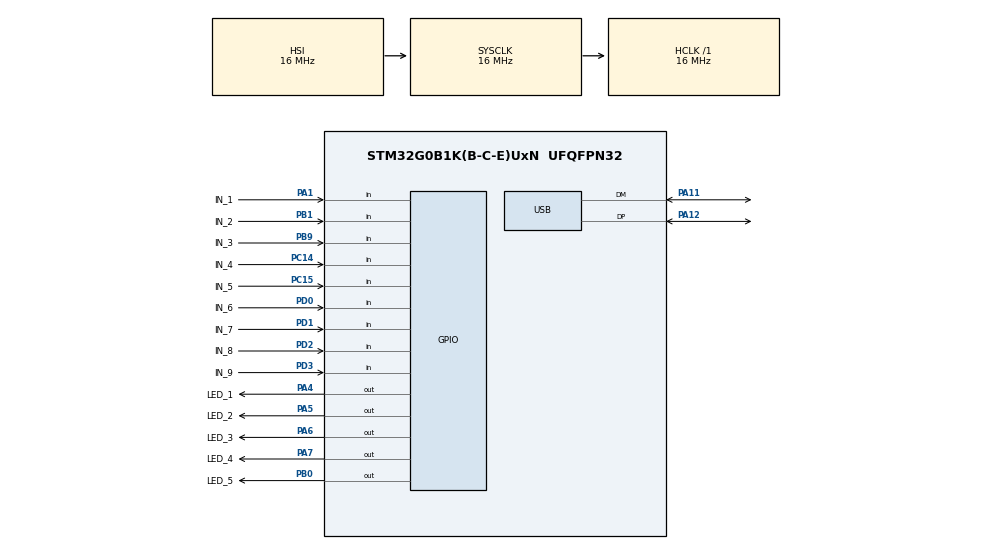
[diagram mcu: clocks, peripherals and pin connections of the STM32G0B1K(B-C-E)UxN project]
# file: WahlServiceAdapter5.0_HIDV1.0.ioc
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Mcu.Family=STM32G0
Mcu.Name=STM32G0B1K(B-C-E)UxN
Mcu.Package=UFQFPN32
NVIC.USB_UCPD1_2_IRQn=true\:0\:0\:false\:false\:true\:true\:true\:true
PA1.GPIO_Label=IN_1
PA1.GPIO_PuPd=GPIO_PULLUP
PA1.Signal=GPIO_Input
PA11\ [PA9].Mode=Device
PA11\ [PA9].Signal=USB_DM
PA12\ [PA10].Mode=Device
PA12\ [PA10].Signal=USB_DP
PA4.GPIO_Label=LED_1
PA4.Signal=GPIO_Output
PA5.GPIO_Label=LED_2
PA5.Signal=GPIO_Output
PA6.GPIO_Label=LED_3
PA6.Signal=GPIO_Output
PA7.GPIO_Label=LED_4
PA7.Signal=GPIO_Output
PB0.GPIO_Label=LED_5
PB0.Signal=GPIO_Output
PB1.GPIO_Label=IN_2
PB1.GPIO_PuPd=GPIO_PULLUP
PB1.Signal=GPIO_Input
PB9.GPIO_Label=IN_3
PB9.GPIO_PuPd=GPIO_PULLUP
PB9.Signal=GPIO_Input
PC14-OSC32_IN\ (PC14).GPIO_Label=IN_4
PC14-OSC32_IN\ (PC14).GPIO_PuPd=GPIO_PULLUP
PC14-OSC32_IN\ (PC14).Signal=GPIO_Input
PC15-OSC32_OUT\ (PC15).GPIO_Label=IN_5
PC15-OSC32_OUT\ (PC15).GPIO_PuPd=GPIO_PULLUP
PC15-OSC32_OUT\ (PC15).Signal=GPIO_Input
PD0.GPIO_Label=IN_6
PD0.GPIO_PuPd=GPIO_PULLUP
PD0.Signal=GPIO_Input
PD1.GPIO_Label=IN_7
PD1.GPIO_PuPd=GPIO_PULLUP
PD1.Signal=GPIO_Input
PD2.GPIO_Label=IN_8
PD2.GPIO_PuPd=GPIO_PULLUP
PD2.Signal=GPIO_Input
PD3.GPIO_Label=IN_9
PD3.GPIO_PuPd=GPIO_PULLUP
PD3.Signal=GPIO_Input
ProjectManager.HeapSize=0x200
ProjectManager.StackSize=0x400
ProjectManager.TargetToolchain=STM32CubeIDE
RCC.AHBFreq_Value=16000000
RCC.CortexFreq_Value=16000000
RCC.EXTERNAL_CLOCK_VALUE=48000
RCC.HCLKFreq_Value=16000000
RCC.HSE_VALUE=8000000
RCC.HSI48_VALUE=48000000
RCC.HSI_VALUE=16000000
RCC.LSE_VALUE=32768
RCC.SYSCLKFreq_VALUE=16000000
RCC.USBFreq_Value=48000000
RCC.VCOOutputFreq_Value=128000000
USB_DEVICE.CLASS_NAME_FS=HID
USB_DEVICE.LANGID_STRING=1031
USB_DEVICE.MANUFACTURER_STRING=StephanBeha
USB_DEVICE.PRODUCT_STRING_HID_FS=Martendo-AmigaJoystickInterface
USB_DEVICE.VirtualMode=Hid
USB_DEVICE.VirtualModeFS=Hid_FS
VP_SYS_VS_DBSignals.Mode=DisableDeadBatterySignals
VP_USB_DEVICE_VS_USB_DEVICE_HID_FS.Mode=HID_FS
board=custom

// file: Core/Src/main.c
/* USER CODE BEGIN Header */
/**
  ******************************************************************************
  * @file           : main.c
  * @brief          : Main program body
  ******************************************************************************
  * @attention
  *
  * Copyright (c) 2026 STMicroelectronics.
  * All rights reserved.
  *
  * This software is licensed under terms that can be found in the LICENSE file
  * in the root directory of this software component.
  * If no LICENSE file comes with this software, it is provided AS-IS.
  *
  ******************************************************************************
  */
/* USER CODE END Header */
#include <usbd_hid_joystick.h>
#include "main.h"
#include "usb_device.h"
#include "gpio.h"

/* USER CODE BEGIN PV */
volatile uint8_t data_ready = 0;

#if (AXIS_NUM > 0)
uint32_t filter_buf[AXIS_NUM][FILTER_WINDOW_SIZE];
#endif
uint16_t report_data[AXIS_NUM + BUTTONS_ENABLED];

uint16_t buttons_state;
uint16_t ADC_data[ADC_CHANNELS_NUM];
/* USER CODE END PV */

void SystemClock_Config(void);
/* USER CODE BEGIN PFP */
uint16_t FilterWindow (uint32_t * p_buf, uint16_t new_val);
/* USER CODE END PFP */

int main(void)
{

  /* MCU Configuration--------------------------------------------------------*/

  /* Reset of all peripherals, Initializes the Flash interface and the Systick. */
  HAL_Init();

  /* Configure the system clock */
  SystemClock_Config();

  /* Initialize all configured peripherals */
  MX_GPIO_Init();
  MX_USB_Device_Init();
  /* USER CODE BEGIN 2 */

uint32_t ledFlash=0;

  /* USER CODE END 2 */

  /* Infinite loop */
  while (1)
  {

    /* USER CODE BEGIN 3 */

	  //HAL_GPIO_WritePin(LED_3_GPIO_Port, LED_3_Pin, 1);
if (ledFlash<20000) ledFlash++;
else ledFlash=0;

if (ledFlash>18000) HAL_GPIO_WritePin(LED_1_GPIO_Port, LED_1_Pin, 1);
else HAL_GPIO_WritePin(LED_1_GPIO_Port, LED_1_Pin, 0);

HAL_GPIO_WritePin(LED_2_GPIO_Port, LED_2_Pin, 0);

	if (1)// (data_ready != 0)
		{
			GPIO_Poll(&buttons_state);
/*
#if (AXIS_NUM > 0)
				for (uint8_t i=0; i<AXIS_NUM; i++)
					report_data[i] = FilterWindow(filter_buf[i], ADC_data[i]);
#endif

*/
			report_data[0]=0;		 //x axis
			report_data[1]=0;		//y axis

//
// ----------------------------------------------------------------------------------------------
// ---- IN3=PB9=TP2=North,  IN4=PC14=TP1=South,   IN5=PC15=TP4=East,    IN6=PD0=TP7=West     ----
// ----------------------------------------------------------------------------------------------
//

			if (HAL_GPIO_ReadPin(IN_3_GPIO_Port, IN_3_Pin)==0)
					{
						report_data[0]=0;			//x Axis (North)
						report_data[1]=-32767;		//y Axis
						HAL_GPIO_WritePin(LED_2_GPIO_Port, LED_2_Pin, 1);
					}
			if (HAL_GPIO_ReadPin(IN_4_GPIO_Port, IN_4_Pin)==0)
					{
						report_data[0]=0;			//x
						report_data[1]=32767;		//y (South)
						HAL_GPIO_WritePin(LED_2_GPIO_Port, LED_2_Pin, 1);
					}
			if (HAL_GPIO_ReadPin(IN_5_GPIO_Port, IN_5_Pin)==0)
					{
						report_data[0]=-32767;	//X (east)
						report_data[1]=0;
						HAL_GPIO_WritePin(LED_2_GPIO_Port, LED_2_Pin, 1);
					}
			if (HAL_GPIO_ReadPin(IN_6_GPIO_Port, IN_6_Pin)==0)
					{
						report_data[0]=32767;		//x (west)
						report_data[1]=0;
						HAL_GPIO_WritePin(LED_2_GPIO_Port, LED_2_Pin, 1);
					}

			if ((HAL_GPIO_ReadPin(IN_3_GPIO_Port, IN_3_Pin)==0)&&(HAL_GPIO_ReadPin(IN_5_GPIO_Port, IN_5_Pin)==0))	// NorthEast
					{
						report_data[0]=32767;		// NE
						report_data[1]=-32767;
						HAL_GPIO_WritePin(LED_2_GPIO_Port, LED_2_Pin, 1);
					}
			if ((HAL_GPIO_ReadPin(IN_4_GPIO_Port, IN_4_Pin)==0)&&(HAL_GPIO_ReadPin(IN_5_GPIO_Port, IN_5_Pin)==0))	// SouthEast
					{
						report_data[0]=32767;		// SE
						report_data[1]=32767;
						HAL_GPIO_WritePin(LED_2_GPIO_Port, LED_2_Pin, 1);
					}
			if ((HAL_GPIO_ReadPin(IN_3_GPIO_Port, IN_3_Pin)==0)&&(HAL_GPIO_ReadPin(IN_6_GPIO_Port, IN_6_Pin)==0))	// SouthWest
					{
						report_data[0]=-32767;		// SW
						report_data[1]=32767;
						HAL_GPIO_WritePin(LED_2_GPIO_Port, LED_2_Pin, 1);
					}
			if ((HAL_GPIO_ReadPin(IN_3_GPIO_Port, IN_3_Pin)==0)&&(HAL_GPIO_ReadPin(IN_6_GPIO_Port, IN_6_Pin)==0))	// NorthWest
					{
						report_data[0]=-32767;		// NW
						report_data[1]=-32767;
						HAL_GPIO_WritePin(LED_2_GPIO_Port, LED_2_Pin, 1);
					}

			if (HAL_GPIO_ReadPin(IN_9_GPIO_Port, IN_9_Pin)==0) HAL_GPIO_WritePin(LED_2_GPIO_Port, LED_2_Pin, 1);
			if (HAL_GPIO_ReadPin(IN_1_GPIO_Port, IN_1_Pin)==0) HAL_GPIO_WritePin(LED_2_GPIO_Port, LED_2_Pin, 1);

#if (BUTTONS_ENABLED == 1)
			report_data[2] = buttons_state;
#endif

			USBD_HID_SendReport(&hUsbDeviceFS, (uint8_t*) &report_data, (AXIS_NUM + BUTTONS_ENABLED)*sizeof(uint16_t));
			data_ready = 0;
		}

//HAL_Delay(20);

  }
  /* USER CODE END 3 */
}

void SystemClock_Config(void)
{
  RCC_OscInitTypeDef RCC_OscInitStruct = {0};
  RCC_ClkInitTypeDef RCC_ClkInitStruct = {0};

  /** Configure the main internal regulator output voltage
  */
  HAL_PWREx_ControlVoltageScaling(PWR_REGULATOR_VOLTAGE_SCALE1);

  /** Initializes the RCC Oscillators according to the specified parameters
  * in the RCC_OscInitTypeDef structure.
  */
  RCC_OscInitStruct.OscillatorType = RCC_OSCILLATORTYPE_HSI|RCC_OSCILLATORTYPE_HSI48;
  RCC_OscInitStruct.HSIState = RCC_HSI_ON;
  RCC_OscInitStruct.HSI48State = RCC_HSI48_ON;
  RCC_OscInitStruct.HSIDiv = RCC_HSI_DIV1;
  RCC_OscInitStruct.HSICalibrationValue = RCC_HSICALIBRATION_DEFAULT;
  RCC_OscInitStruct.PLL.PLLState = RCC_PLL_NONE;
  if (HAL_RCC_OscConfig(&RCC_OscInitStruct) != HAL_OK)
  {
    Error_Handler();
  }

  /** Initializes the CPU, AHB and APB buses clocks
  */
  RCC_ClkInitStruct.ClockType = RCC_CLOCKTYPE_HCLK|RCC_CLOCKTYPE_SYSCLK
                              |RCC_CLOCKTYPE_PCLK1;
  RCC_ClkInitStruct.SYSCLKSource = RCC_SYSCLKSOURCE_HSI;
  RCC_ClkInitStruct.AHBCLKDivider = RCC_SYSCLK_DIV1;
  RCC_ClkInitStruct.APB1CLKDivider = RCC_HCLK_DIV1;

  if (HAL_RCC_ClockConfig(&RCC_ClkInitStruct, FLASH_LATENCY_0) != HAL_OK)
  {
    Error_Handler();
  }
}

void Error_Handler(void)
{
  __disable_irq();
  while (1)
  {
  }
}
